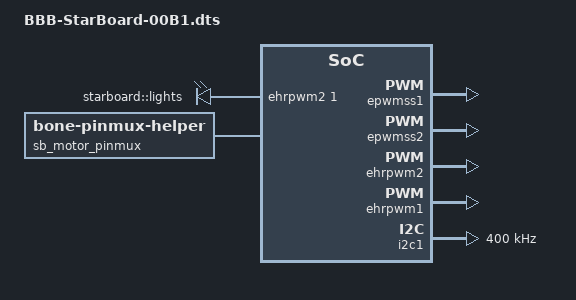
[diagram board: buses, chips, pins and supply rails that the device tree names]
/dts-v1/;
/plugin/;

#include <dt-bindings/gpio/gpio.h>
#include <dt-bindings/pinctrl/am33xx.h>
#include <dt-bindings/board/am335x-bbw-bbb-base.h>

/ {
        compatible = "ti,beaglebone-black";

        /* identification */
        part-number = "BBB-StarBoard";
        version = "00B1";

        exclusive-use =
                "P8.11", "P8.12",
                "P8.13", "P8.14",
                "P8.15", "P8.16",
                "P8.26",
                "P8.27", "P8.28",
                "P8.29", "P8.30",
                "P8.31", "P8.32",
                "P8.33", "P8.34",
                "P8.35", "P8.36",
                "P8.39", "P8.40",
                "P8.41", "P8.42",
                "P8.43", "P8.44",
                "P8.45", "P8.46",
                "P9.19", "P9.20",
                "P9.24", "P9.26",
                "P9.25", "P9.27",
                "ehrpwm2B",
                "ehrpwm1A",
                "ehrpwm1B",
                "i2c1";

        fragment@0 {
                target = <&ocp>;
                __overlay__ {
                        P8_11_pinmux { status = "disabled"; };
                        P8_12_pinmux { status = "disabled"; };
                        P8_13_pinmux { status = "disabled"; };
                        P8_14_pinmux { status = "disabled"; };
                        P8_15_pinmux { status = "disabled"; };
                        P8_16_pinmux { status = "disabled"; };
                        P8_26_pinmux { status = "disabled"; };
                        P8_27_pinmux { status = "disabled"; };
                        P8_28_pinmux { status = "disabled"; };
                        P8_29_pinmux { status = "disabled"; };
                        P8_30_pinmux { status = "disabled"; };
                        P8_31_pinmux { status = "disabled"; };
                        P8_32_pinmux { status = "disabled"; };
                        P8_33_pinmux { status = "disabled"; };
                        P8_34_pinmux { status = "disabled"; };
                        P8_35_pinmux { status = "disabled"; };
                        P8_36_pinmux { status = "disabled"; };
                        P8_39_pinmux { status = "disabled"; };
                        P8_40_pinmux { status = "disabled"; };
                        P8_41_pinmux { status = "disabled"; };
                        P8_42_pinmux { status = "disabled"; };
                        P8_43_pinmux { status = "disabled"; };
                        P8_44_pinmux { status = "disabled"; };
                        P8_45_pinmux { status = "disabled"; };
                        P8_46_pinmux { status = "disabled"; };
                        P9_19_pinmux { status = "disabled"; };
                        P9_20_pinmux { status = "disabled"; };
                        P9_24_pinmux { status = "disabled"; };
                        P9_26_pinmux { status = "disabled"; };
                        P9_25_pinmux { status = "disabled"; };
                        P9_27_pinmux { status = "disabled"; };
                };
        };

        /* sets pin mux */
        fragment@1 {
                target = <&am33xx_pinmux>;
                __overlay__ {
                sb_lights_pin: pinmux_sb_lights_pin {
                                pinctrl-single,pins = <
                                        BONE_P8_13 0x4 /* ehrpwm2B */
                                        >;
                        };
                sb_motor_gpio_pins: pinmux_sb_motor_gpio_pins {
                                pinctrl-single,pins = <
                                        BONE_P8_11 (PIN_OUTPUT_PULLDOWN | INPUT_EN | MUX_MODE7)
                                        BONE_P8_12 (PIN_OUTPUT_PULLDOWN | INPUT_EN | MUX_MODE7)
                                        BONE_P8_15 (PIN_OUTPUT_PULLDOWN | INPUT_EN | MUX_MODE7)
                                        BONE_P8_16 (PIN_OUTPUT_PULLDOWN | INPUT_EN | MUX_MODE7)
                                        BONE_P8_34 (PIN_OUTPUT_PULLDOWN | INPUT_EN | MUX_MODE7)
                                        BONE_P8_36 (PIN_OUTPUT_PULLDOWN | INPUT_EN | MUX_MODE7)
                                        >;
                        };
                sb_motor_pwm_pins: pinmux_sb_motor_pwm_pins {
                                pinctrl-single,pins = <
                                        BONE_P8_11 (PIN_OUTPUT_PULLDOWN | MUX_MODE7)
                                        BONE_P8_12 (PIN_OUTPUT_PULLDOWN | MUX_MODE7)
                                        BONE_P8_15 (PIN_OUTPUT_PULLDOWN | MUX_MODE7)
                                        BONE_P8_16 (PIN_OUTPUT_PULLDOWN | MUX_MODE7)
                                        BONE_P8_34 0x02 /* (PIN_OUTPUT_PULLDOWN | MUX_MODE2) */
                                        BONE_P8_36 0x02 /* (PIN_OUTPUT_PULLDOWN | MUX_MODE2) */
                                        >;
                        };
                sb_motor_pru_pins: pinmux_sb_motor_pru_pins {
                                pinctrl-single,pins = <
                                        BONE_P8_11 (PIN_OUTPUT_PULLDOWN | INPUT_EN | MUX_MODE6)
                                        BONE_P8_12 (PIN_OUTPUT_PULLDOWN | INPUT_EN | MUX_MODE6)
                                        BONE_P8_15 (PIN_INPUT | MUX_MODE6)
                                        BONE_P8_16 (PIN_INPUT | MUX_MODE6)
                                        BONE_P8_34 (PIN_OUTPUT_PULLDOWN | MUX_MODE7)
                                        BONE_P8_36 (PIN_OUTPUT_PULLDOWN | MUX_MODE7)
                                        >;
                        };
                sb_sw1_default_pin: pinmux_sb_sw1_default_pin {
                                pinctrl-single,pins = <
                                        BONE_P9_27 (PIN_INPUT_PULLUP | MUX_MODE7) /* button 1 */
                                        >;
                        };
                sb_sw1_pu_pin: pinmux_sb_sw1_pu_pin {
                                pinctrl-single,pins = <
                                        BONE_P9_27 (PIN_INPUT_PULLUP | MUX_MODE7) /* button 1 */
                                        >;
                        };
                sb_sw1_pd_pin: pinmux_sb_sw1_pd_pin {
                                pinctrl-single,pins = <
                                        BONE_P9_27 (PIN_INPUT_PULLDOWN | MUX_MODE7) /* button 1 */
                                        >;
                        };
                sb_sw1_pru_pin: pinmux_sb_sw1_pru_pin {
                                pinctrl-single,pins = <
                                        BONE_P9_27 (PIN_INPUT_PULLDOWN | MUX_MODE6) /* button 1 */
                                        >;
                        };
                sb_sw2_default_pin: pinmux_sb_sw2_default_pin {
                                pinctrl-single,pins = <
                                        BONE_P9_25 (PIN_INPUT_PULLUP | MUX_MODE7) /* button 2 */
                                        >;
                        };
                sb_sw2_pu_pin: pinmux_sb_sw2_pu_pin {
                                pinctrl-single,pins = <
                                        BONE_P9_25 (PIN_INPUT_PULLUP | MUX_MODE7) /* button 2 */
                                        >;
                        };
                sb_sw2_pd_pin: pinmux_sb_sw2_pd_pin {
                                pinctrl-single,pins = <
                                        BONE_P9_25 (PIN_INPUT_PULLDOWN | MUX_MODE6) /* button 2 */
                                        >;
                        };
                sb_sw2_pru_pin: pinmux_sb_sw2_pru_pin {
                                pinctrl-single,pins = <
                                        BONE_P9_25 (PIN_INPUT_PULLDOWN | INPUT_EN | MUX_MODE5) /* button 2 */
                                        >;
                        };
                sb_gpio_pins: pinmux_sb_gpio_pins {
                                pinctrl-single,pins = <
                                        BONE_P8_27 (PIN_OUTPUT_PULLDOWN | MUX_MODE7) /* driver */
                                        BONE_P8_28 (PIN_OUTPUT_PULLDOWN | MUX_MODE7) /* driver */
                                        BONE_P8_29 (PIN_OUTPUT_PULLDOWN | MUX_MODE7) /* driver */
                                        BONE_P8_30 (PIN_OUTPUT_PULLDOWN | MUX_MODE7) /* driver */
                                        BONE_P8_39 (PIN_INPUT_PULLUP | MUX_MODE7) /* interrupt */
                                        BONE_P8_40 (PIN_INPUT_PULLUP | MUX_MODE7) /* interrupt */
                                        BONE_P8_41 (PIN_INPUT_PULLUP | MUX_MODE7) /* interrupt */
                                        BONE_P8_42 (PIN_INPUT_PULLUP | MUX_MODE7) /* interrupt */
                                        >;
                        };
                sb_ttl_pins: pinmux_sb_ttl_pins {
                                pinctrl-single,pins = <
                                        BONE_P8_31 (PIN_OUTPUT_PULLDOWN | INPUT_EN | MUX_MODE7) /* output */
                                        BONE_P8_32 (PIN_OUTPUT_PULLDOWN | INPUT_EN | MUX_MODE7) /* output */
                                        BONE_P8_33 (PIN_OUTPUT_PULLDOWN | INPUT_EN | MUX_MODE7) /* output */
                                        BONE_P8_35 (PIN_OUTPUT_PULLDOWN | INPUT_EN | MUX_MODE7) /* output */
                                        BONE_P8_43 (PIN_OUTPUT_PULLDOWN | INPUT_EN | MUX_MODE7) /* output */
                                        BONE_P8_44 (PIN_OUTPUT_PULLDOWN | INPUT_EN | MUX_MODE7) /* output */
                                        BONE_P8_45 (PIN_OUTPUT_PULLDOWN | INPUT_EN | MUX_MODE7) /* output */
                                        BONE_P8_46 (PIN_OUTPUT_PULLDOWN | INPUT_EN | MUX_MODE7) /* output */
                                        >;
                        };
                sb_i2c1_pins: pinmux_sb_i2c1_pins {
                                pinctrl-single,pins = <
                                        BONE_P9_24 0x73 /* SLEWCTRL_SLOW | INPUT_PULLUP | MODE3 */
                                        BONE_P9_26 0x73 /* SLEWCTRL_SLOW | INPUT_PULLUP | MODE3 */
                                >;
                        };
                 };
        };

        /* enables pwm outputs */
        fragment@2 {
                target = <&epwmss1>;
                __overlay__ {
                        status = "okay";
                };
        };

        /* enables pwm outputs */
        fragment@3 {
                target = <&epwmss2>;
                __overlay__ {
                        status = "okay";
                };
        };

        fragment@4 {
                target = <&ehrpwm2>;
                __overlay__ {
                        pinctrl-names = "default";
                        pinctrl-0 = <&sb_lights_pin>;
                        status = "okay";
                };
        };

        fragment@5 {
                target = <&ehrpwm1>;
                __overlay__ {
                        pinctrl-names = "default";
                        pinctrl-0 = <>;
                        status = "okay";
                };
        };

        fragment@6 {
                target = <&i2c1>;
                __overlay__ {
                        status = "okay";
                        pinctrl-names = "default";
                        pinctrl-0 = <&sb_i2c1_pins>;
                        clock-frequency = <400000>;
                        #address-cells = <1>;
                        #size-cells = <0>;
                };
        };

        fragment@7 {
                target = <&ocp>;
                __overlay__ {
                        sb_gpios: sb_gpio_helper {
                                compatible = "bone-pinmux-helper";
                                pinctrl-names = "default";
                                pinctrl-0 = <&sb_gpio_pins>;
                                status = "okay";
                        };
                        sb_ttls: sb_ttl_helper {
                                compatible = "bone-pinmux-helper";
                                pinctrl-names = "default";
                                pinctrl-0 = <&sb_ttl_pins>;
                                status = "okay";
                        };
                        sb_sw1_pinmux {
                                compatible = "bone-pinmux-helper";
                                pinctrl-names = "default", "gpio_pu", "gpio_pd", "pruin";
                                pinctrl-0 = <&sb_sw1_default_pin>;
                                pinctrl-1 = <&sb_sw1_pu_pin>;
                                pinctrl-2 = <&sb_sw1_pd_pin>;
                                pinctrl-3 = <&sb_sw1_pru_pin>;
                                status = "okay";
                        };
                        sb_sw2_pinmux {
                                compatible = "bone-pinmux-helper";
                                pinctrl-names = "default", "gpio_pu", "gpio_pd", "pruin";
                                pinctrl-0 = <&sb_sw2_default_pin>;
                                pinctrl-1 = <&sb_sw2_pu_pin>;
                                pinctrl-2 = <&sb_sw2_pd_pin>;
                                pinctrl-3 = <&sb_sw2_pru_pin>;
                                status = "okay";
                        };
                        sb_motor_pinmux {
                                compatible = "bone-pinmux-helper";
                                pinctrl-names = "default", "gpio", "pwm", "pru";
                                pinctrl-0 = <&sb_motor_pwm_pins>;
                                pinctrl-1 = <&sb_motor_gpio_pins>;
                                pinctrl-2 = <&sb_motor_pwm_pins>;
                                pinctrl-3 = <&sb_motor_pru_pins>;
                                status = "okay";
                        };

                };
        };

        /* creates user interface */
        fragment@8 {
                target-path = "/";
                __overlay__ {
                        sbd-lights {
                                compatible = "pwm-leds";
                                status = "okay";
                                sbd-lights-pwm {
                                        label = "starboard::lights";
                                        /*channel, period (ns), polarity */
                                        pwms = <&ehrpwm2 1 500000 0>;
                                        /* pwm-names = "lights"; */
                                        max-brightness = <255>;
                                };
                        };
                };
        };
};
